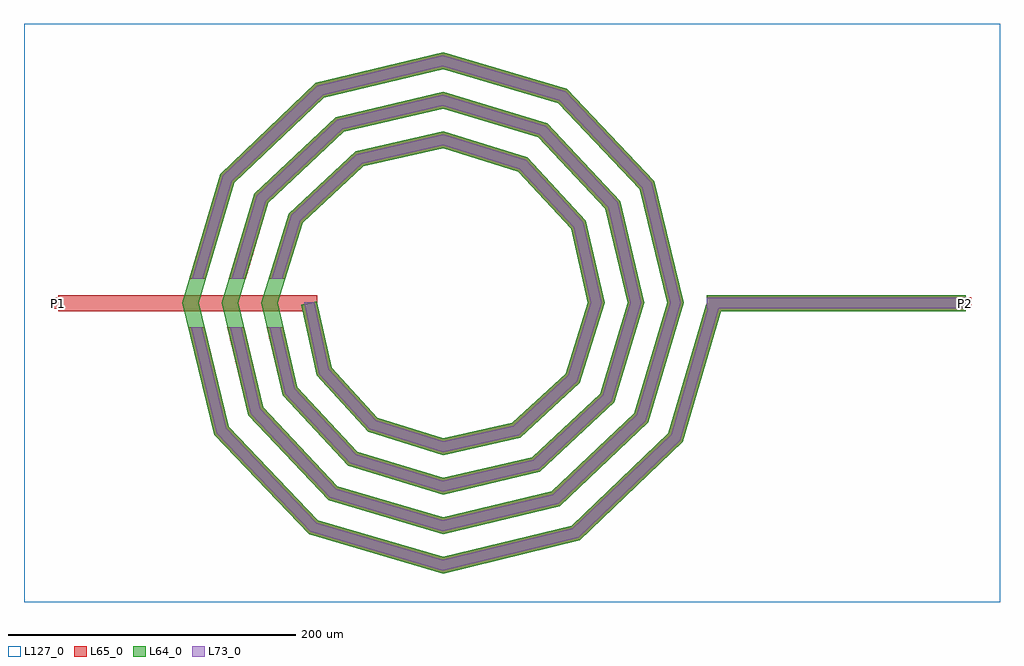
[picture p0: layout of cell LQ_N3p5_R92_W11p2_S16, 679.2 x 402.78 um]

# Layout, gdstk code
import gdstk
lib = gdstk.Library(unit=1e-6, precision=1e-09)
def R(c, l, rs):  # rectangles x0, y0, x1, y1
    for r in rs: c.add(gdstk.rectangle(r[:2], r[2:], *l))
def P(c, l, *ps):  # polygons
    for p in ps: c.add(gdstk.Polygon(p, *l))
L64_0 = (64, 0)
L65_0 = (65, 0)
L73_0 = (73, 0)
L127_0 = (127, 0)

lq_n3p5_r92_w11p2_s16 = lib.new_cell('LQ_N3p5_R92_W11p2_S16')
R(lq_n3p5_r92_w11p2_s16, L64_0, [(183.748,-5.6,363.748,5.6)])
P(lq_n3p5_r92_w11p2_s16, L64_0, [(-77.427,-45.003),(-45.704,-79.67),(0.248,-94.14),(48.426,-83.392),(85.617,-49.157),(101.018,0.232),(89.356,51.852),(52.609,91.566),(0.218,107.895),(-55.279,95.319),(-97.516,56.059),(-114.773,0.206),(-101.281,-58.708),(-59.508,-103.466),(0.195,-121.651),(62.137,-107.243),(109.417,-62.955),(128.529,0.185),(113.204,65.568),(66.402,115.369),(0.176,135.406),(-68.999,119.164),(-121.321,69.849),(-142.284,0.167),(-125.125,-72.431),(-73.294,-127.274),(0.16,-149.162),(75.864,-131.085),(133.227,-76.739),(156.04,0.153),(137.044,79.297),(80.184,139.18),(0.147,162.918),(-82.731,143.004),(-145.133,83.628),(-169.796,0.141),(-148.963,-86.165),(-87.071,-151.087),(0.136,-176.674),(89.599,-154.922),(157.041,-90.515),(183.973,1.572),(194.723,-1.572),(166.948,-96.54),(95.163,-165.096),(0.136,-188.266),(-93.106,-160.989),(-159.142,-91.72),(-181.388,0.141),(-155.029,89.671),(-88.276,153.188),(0.147,174.51),(86.237,149.07),(147.234,84.831),(167.631,0.153),(143.11,-82.804),(81.386,-141.281),(0.16,-160.753),(-79.371,-137.15),(-135.328,-77.941),(-153.875,0.167),(-131.189,75.938),(-74.495,129.375),(0.176,146.997),(72.507,125.228),(123.423,71.048),(140.119,0.185),(119.267,-69.076),(67.601,-117.471),(0.195,-133.24),(-65.645,-113.305),(-111.519,-64.153),(-126.362,0.206),(-107.342,62.216),(-60.703,105.568),(0.218,119.484),(58.788,101.379),(99.618,57.252),(112.605,0.232),(95.415,-55.361),(53.8,-93.669),(0.248,-105.727),(-51.937,-89.449),(-87.72,-50.345),(-98.525,-1.202),(-87.586,1.202)])
R(lq_n3p5_r92_w11p2_s16, L65_0, [(-267.456,-5.6,-87.456,5.6), (183.748,-5.6,363.748,5.6), (-271.456,-4,-263.456,4), (359.748,-4,367.748,4)])
P(lq_n3p5_r92_w11p2_s16, L65_0, [(-148.963,-86.165),(-87.071,-151.087),(0.136,-176.674),(89.599,-154.922),(157.041,-90.515),(183.973,1.572),(194.723,-1.572),(166.948,-96.541),(95.163,-165.096),(0.136,-188.266),(-93.106,-160.989),(-159.142,-91.72),(-177.285,-16.8),(-165.761,-16.8)],
  [(-125.125,-72.431),(-73.294,-127.274),(0.16,-149.162),(75.864,-131.085),(133.227,-76.739),(156.04,0.153),(137.044,79.297),(80.184,139.18),(0.147,162.918),(-82.731,143.004),(-145.133,83.628),(-164.808,16.8),(-176.483,16.8),(-155.029,89.671),(-88.276,153.188),(0.147,174.51),(86.238,149.07),(147.234,84.831),(167.632,0.153),(143.11,-82.804),(81.386,-141.281),(0.16,-160.753),(-79.371,-137.15),(-135.328,-77.941),(-149.846,-16.8),(-138.335,-16.8)],
  [(-101.281,-58.708),(-59.508,-103.466),(0.195,-121.651),(62.137,-107.243),(109.418,-62.955),(128.529,0.185),(113.204,65.568),(66.402,115.369),(0.176,135.406),(-68.999,119.164),(-121.321,69.849),(-137.204,16.8),(-148.895,16.8),(-131.189,75.939),(-74.495,129.375),(0.176,146.997),(72.507,125.228),(123.423,71.049),(140.119,0.185),(119.267,-69.076),(67.601,-117.471),(0.195,-133.24),(-65.645,-113.305),(-111.519,-64.153),(-122.44,-16.8),(-110.946,-16.8)],
  [(-45.704,-79.67),(0.248,-94.141),(48.427,-83.392),(85.617,-49.157),(101.018,0.232),(89.356,51.852),(52.609,91.566),(0.218,107.896),(-55.279,95.319),(-97.516,56.059),(-109.557,16.8),(-121.272,16.8),(-107.342,62.216),(-60.703,105.568),(0.218,119.484),(58.788,101.379),(99.618,57.252),(112.605,0.232),(95.415,-55.362),(53.8,-93.669),(0.248,-105.727),(-51.937,-89.449),(-87.72,-50.345),(-98.525,-1.203),(-87.586,1.203),(-77.428,-45.003)])
R(lq_n3p5_r92_w11p2_s16, L73_0, [(183.748,-3.6,363.748,3.6)])
P(lq_n3p5_r92_w11p2_s16, L73_0, [(-150.781,-87.157),(-88.149,-152.855),(0.087,-178.744),(90.593,-156.739),(158.81,-91.591),(185.892,1.011),(192.803,-1.011),(165.179,-95.464),(94.17,-163.279),(0.087,-186.196),(-92.028,-159.221),(-157.324,-90.728),(-175.227,-16.8),(-167.819,-16.8)],
  [(-126.947,-73.415),(-74.379,-129.037),(0.103,-151.232),(76.85,-132.905),(134.992,-77.822),(158.11,0.099),(138.864,80.285),(81.265,140.946),(0.095,164.988),(-83.721,144.822),(-146.901,84.707),(-166.893,16.8),(-174.398,16.8),(-153.262,88.592),(-87.285,151.369),(0.095,172.44),(85.156,147.304),(145.415,83.843),(165.562,0.099),(141.345,-81.721),(80.4,-139.46),(0.103,-158.683),(-78.286,-135.386),(-133.506,-76.957),(-147.791,-16.8),(-140.39,-16.8)],
  [(-103.109,-59.68),(-60.604,-105.223),(0.125,-123.72),(63.113,-109.069),(111.176,-64.048),(130.598,0.119),(115.029,66.547),(67.492,117.13),(0.113,137.476),(-69.981,120.988),(-123.083,70.936),(-139.292,16.8),(-146.808,16.8),(-129.427,74.851),(-73.514,127.552),(0.113,144.927),(71.417,123.468),(121.598,70.07),(138.049,0.119),(117.508,-67.983),(66.625,-115.644),(0.125,-131.171),(-64.549,-111.548),(-109.691,-63.18),(-120.388,-16.8),(-112.999,-16.8)],
  [(-46.817,-81.416),(0.159,-96.209),(49.386,-85.227),(87.367,-50.265),(103.087,0.149),(91.188,52.816),(53.712,93.318),(0.14,109.965),(-56.248,97.149),(-99.271,57.158),(-111.649,16.8),(-119.18,16.8),(-105.588,61.117),(-59.735,103.738),(0.14,117.414),(57.685,99.627),(97.786,56.288),(110.536,0.149),(93.665,-54.254),(52.84,-91.834),(0.159,-103.658),(-50.824,-87.703),(-85.882,-49.391),(-96.572,0.773),(-89.54,0.773),(-79.266,-45.957)])
R(lq_n3p5_r92_w11p2_s16, L127_0, [(-291.456,-208.266,387.748,194.51)])
lq_n3p5_r92_w11p2_s16.add(gdstk.Label('P2', (363.748,0), layer=65, texttype=0))
lq_n3p5_r92_w11p2_s16.add(gdstk.Label('P1', (-267.456,0), layer=65, texttype=0))
lq_n3p5_r92_w11p2_s16.add(gdstk.Label('P2', (367.748,0), layer=145, texttype=0))
lq_n3p5_r92_w11p2_s16.add(gdstk.Label('P1', (-271.456,0), layer=145, texttype=0))

lib.write_gds('LQ_N3p5_R92_W11p2_S16.gds')
